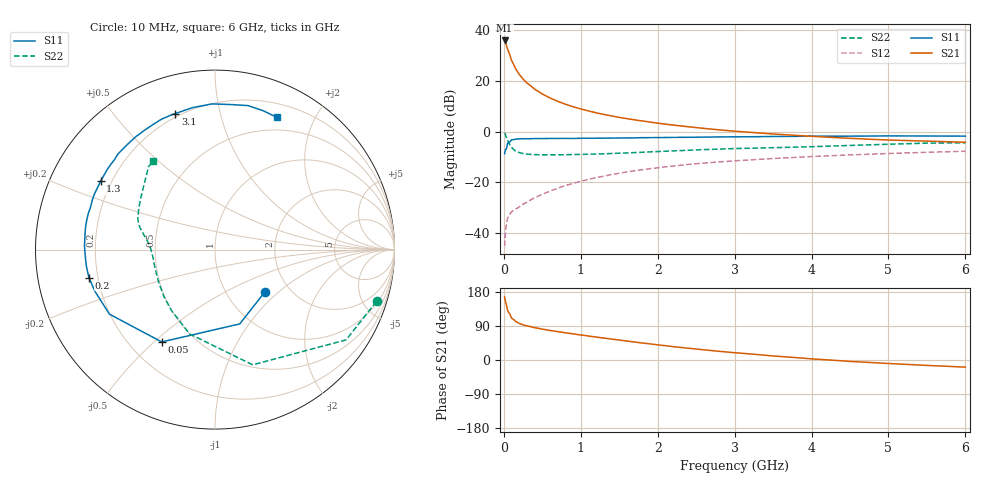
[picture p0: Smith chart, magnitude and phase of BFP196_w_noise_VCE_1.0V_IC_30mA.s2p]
! Infineon Technologies  Discrete & RF Semiconductors
! BFP196
! VCE =  1.0 V,  IC =  30 mA
! Common Emitter S-Parameters:  Jan 2017
# GHz  S  MA  R  50
!  f  S11  S21  S12  S22
! GHz  MAG  ANG  MAG  ANG  MAG  ANG  MAG  ANG
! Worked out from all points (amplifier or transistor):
!   77 points, 10 MHz to 6 GHz, reference 50 ohm
!   highest |S21| = 35.9 dB at 10 MHz (marker M1)
!   |S21| within 3 dB of that: start of sweep to 44.46 MHz
!   unconditionally stable (mu >= 1): 603.2 MHz to 2.728 GHz
!   at 130 MHz: K = 0.51, MSG = 28.7 dB, |S12| = -31.0 dB
!   at 2.2 GHz: K = 1.02, MAG = 7.2 dB, |S12| = -13.6 dB
!   at 6 GHz: K = 0.98, MSG = 1.8 dB, |S12| = -7.8 dB
!   lowest NFmin = 1.22 dB at 450 MHz
!   S11 on the Smith chart (normalised r, x): 10 MHz: 1.49, -0.82; 50 MHz: 0.33, -0.53; 200 MHz: 0.16, -0.11; 1.3 GHz: 0.16, +0.27; 3.1 GHz: 0.18, +0.73; 6 GHz: 0.35, +1.51
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0.01  0.3646 -40.7  62.65 166.6  0.0055 78.5  0.9453 -17.8
0.02  0.4364 -71.6  58.85 154.6  0.0107 71.5  0.8866 -34.6
0.05  0.5939 -120.0  41.91 129.2  0.02 51.9  0.6752 -71.9
0.1  0.6895 -148.6  25.4 110.5  0.0263 45.0  0.4908 -106.7
0.15  0.7083 -160.9  17.66 102.1  0.0294 44.4  0.4172 -125.5
0.2  0.7196 -167.5  13.46 96.7  0.0326 47.9  0.3865 -137.6
0.25  0.7224 -172.6  10.85 92.8  0.037 49.9  0.3686 -145.6
0.3  0.7232 -176.1  9.081 90.0  0.0405 52.5  0.3599 -151.8
0.4  0.7274 178.5  6.866 85.3  0.0495 56.9  0.3512 -159.7
0.5  0.7287 174.0  5.5 81.4  0.058 58.9  0.3486 -165.0
0.6  0.7318 170.3  4.606 78.0  0.0672 59.8  0.3486 -169.1
0.7  0.7334 167.0  3.956 75.0  0.0763 60.7  0.3475 -172.2
0.9  0.7327 160.7  3.087 68.9  0.0954 60.2  0.3523 -176.8
1.1  0.7398 154.8  2.555 63.3  0.1142 59.3  0.358 179.6
1.3  0.7423 149.2  2.178 57.9  0.1321 57.5  0.3648 176.6
1.7  0.7515 138.1  1.702 47.4  0.1687 52.9  0.3856 171.7
2.1  0.7644 127.7  1.403 37.7  0.2012 47.6  0.4099 167.4
2.6  0.7777 116.4  1.156 26.8  0.2391 40.6  0.4415 162.7
3.1  0.7895 106.3  0.992 17.7  0.2707 33.9  0.4659 157.0
4.1  0.8111 89.6  0.792 1.7  0.3263 21.8  0.509 143.7
5.1  0.8215 75.8  0.674 -10.2  0.3737 10.2  0.5689 131.9
6  0.8133 65.0  0.617 -18.8  0.4093 0.4  0.6011 125.2
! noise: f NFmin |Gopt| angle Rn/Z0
0.45  1.22  0.34  169  0.05
0.9  1.38  0.45  -172  0.06
1.9  2.24  0.68  -135  0.25
2.4  2.64  0.71  -121  0.6
